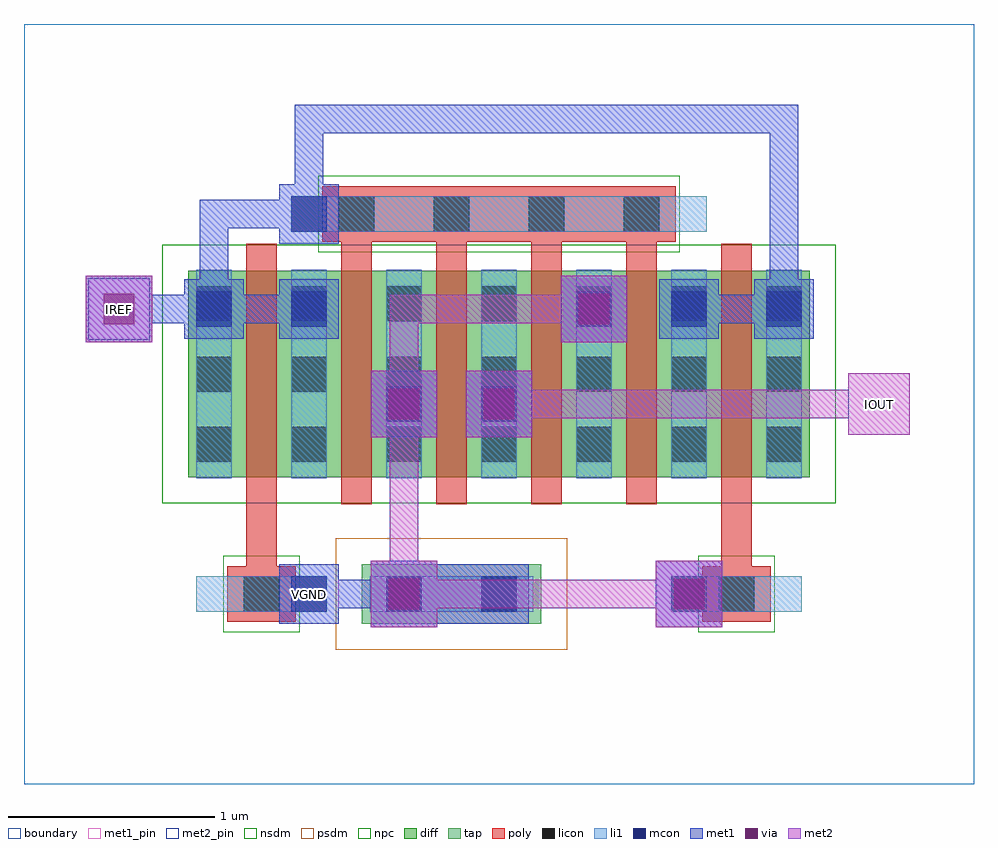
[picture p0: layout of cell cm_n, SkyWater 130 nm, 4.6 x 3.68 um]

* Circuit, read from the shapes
.subckt cm_n IOUT IREF VGND
XM1 IREF VGND IREF VGND sky130_fd_pr__nfet_01v8 w=1 l=0.15 m=2
XM2 VGND IREF IREF VGND sky130_fd_pr__nfet_01v8 w=1 l=0.15 m=2
XM3 IOUT IREF VGND VGND sky130_fd_pr__nfet_01v8 w=1 l=0.15 m=2
.ends

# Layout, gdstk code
import gdstk
lib = gdstk.Library(unit=1e-6, precision=1e-09)
def R(c, l, rs):  # rectangles x0, y0, x1, y1
    for r in rs: c.add(gdstk.rectangle(r[:2], r[2:], *l))
def A(c, l, x, y, w, h, nx, ny, dx, dy):  # array of equal rectangles
    R(c, l, [(x+i*dx, y+j*dy, x+i*dx+w, y+j*dy+h) for i in range(nx) for j in range(ny)])
diff = (65, 20)
tap = (65, 44)
poly = (66, 20)
licon = (66, 44)
li1 = (67, 20)
mcon = (67, 44)
met1_pin = (68, 16)
met1 = (68, 20)
via = (68, 44)
met2_pin = (69, 16)
met2 = (69, 20)
nsdm = (93, 44)
psdm = (94, 20)
npc = (95, 20)
boundary = (235, 4)

cm_n = lib.new_cell('cm_n')
R(cm_n, diff, [(0.795,1.485,3.805,2.485)])
R(cm_n, tap, [(1.635,0.775,2.505,1.065)])
A(cm_n, poly, 1.535, 1.355, 0.15, 1.405, 4, 1, 0.46, 0)
R(cm_n, poly, [(0.985,0.785,1.315,1.055), (3.285,0.785,3.615,1.055), (1.075,0.92,1.225,2.615), (3.375,0.92,3.525,2.615), (1.445,2.625,3.155,2.895)])
A(cm_n, licon, 0.835, 1.56, 0.17, 0.17, 7, 3, 0.46, 0.34)
A(cm_n, licon, 1.525, 2.675, 0.17, 0.17, 4, 1, 0.46, 0)
R(cm_n, licon, [(1.065,0.835,1.235,1.005), (1.755,0.835,1.925,1.005), (2.215,0.835,2.385,1.005), (3.365,0.835,3.535,1.005)])
A(cm_n, li1, 0.835, 1.48, 0.17, 1.01, 7, 1, 0.46, 0)
R(cm_n, li1, [(0.835,0.835,1.465,1.005), (1.675,0.835,2.465,1.005), (3.135,0.835,3.765,1.005), (1.295,2.675,3.305,2.845)])
A(cm_n, mcon, 1.295, 0.835, 0.17, 0.17, 3, 1, 0.46, 0)
A(cm_n, mcon, 2.675, 2.215, 0.17, 0.17, 3, 1, 0.46, 0)
R(cm_n, mcon, [(3.135,0.835,3.305,1.005), (1.755,1.755,1.925,1.925), (2.215,1.755,2.385,1.925), (0.835,2.215,1.005,2.385), (1.295,2.215,1.465,2.385), (1.295,2.675,1.465,2.845)])
R(cm_n, met1_pin, [(1.235,0.775,1.525,1.065)])
A(cm_n, met1, 2.615, 2.155, 0.29, 0.29, 3, 1, 0.46, 0)
R(cm_n, met1, [(1.68,0.76,2,1.08), (3.06,0.76,3.38,1.08), (1.235,0.775,1.525,1.065), (1.695,0.775,2.445,1.065), (3.075,0.775,3.365,1.065), (1.31,0.85,1.91,0.99), (1.77,0.85,1.91,0.99), (1.68,1.68,2,2), (2.14,1.68,2.46,2), (1.695,1.695,1.985,1.985), (2.155,1.695,2.445,1.985), (0.3,2.14,0.62,2.46), (2.6,2.14,2.92,2.46), (0.775,2.155,1.065,2.445), (1.235,2.155,1.525,2.445), (0.39,2.23,0.99,2.37), (0.85,2.23,0.99,2.83), (0.85,2.23,1.45,2.37), (3.15,2.23,3.75,2.37), (3.61,2.23,3.75,3.29), (1.235,2.615,1.525,2.905), (0.85,2.69,1.45,2.83), (1.31,2.69,1.45,3.29), (1.31,3.15,3.75,3.29)])
R(cm_n, via, [(1.765,0.845,1.915,0.995), (3.145,0.845,3.295,0.995), (1.765,1.765,1.915,1.915), (2.225,1.765,2.375,1.915), (0.385,2.225,0.535,2.375), (2.685,2.225,2.835,2.375)])
R(cm_n, met2_pin, [(3.99,1.69,4.29,1.99), (0.31,2.15,0.61,2.45)])
R(cm_n, met2, [(1.68,0.76,2,1.08), (3.06,0.76,3.38,1.08), (1.77,0.85,1.91,1.91), (1.77,0.85,3.29,0.99), (1.68,1.68,2,2), (2.14,1.68,2.46,2), (3.99,1.69,4.29,1.99), (1.77,1.77,1.91,2.37), (2.23,1.77,4.21,1.91), (4.07,1.77,4.21,1.91), (0.3,2.14,0.62,2.46), (2.6,2.14,2.92,2.46), (0.31,2.15,0.61,2.45), (0.39,2.23,0.53,2.37), (1.77,2.23,2.83,2.37)])
R(cm_n, nsdm, [(0.67,1.36,3.93,2.61)])
R(cm_n, psdm, [(1.51,0.65,2.63,1.19)])
R(cm_n, npc, [(0.965,0.735,1.335,1.105), (3.265,0.735,3.635,1.105), (1.425,2.575,3.175,2.945)])
R(cm_n, boundary, [(0,0,4.6,3.68)])
cm_n.add(gdstk.Label('VGND', (1.38,0.92), layer=68, texttype=5))
cm_n.add(gdstk.Label('IREF', (0.46,2.3), layer=69, texttype=5))
cm_n.add(gdstk.Label('IOUT', (4.14,1.84), layer=69, texttype=5))
cm_n.add(gdstk.Label('VGND', (1.38,0.92), layer=68, texttype=16))
cm_n.add(gdstk.Label('IREF', (0.46,2.3), layer=69, texttype=16))
cm_n.add(gdstk.Label('IOUT', (4.14,1.84), layer=69, texttype=16))

lib.write_gds('cm_n.gds')
